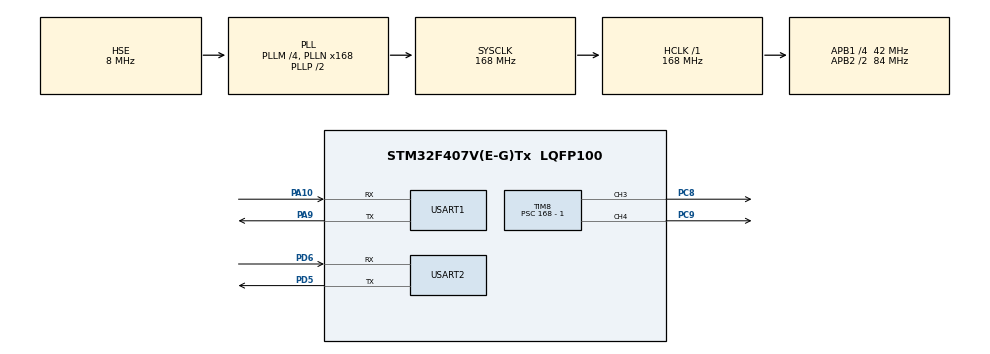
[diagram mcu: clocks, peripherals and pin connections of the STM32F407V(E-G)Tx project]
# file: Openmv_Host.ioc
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Dma.Request0=USART2_RX
Dma.Request1=USART1_RX
Dma.USART1_RX.1.Direction=DMA_PERIPH_TO_MEMORY
Dma.USART1_RX.1.FIFOMode=DMA_FIFOMODE_DISABLE
Dma.USART1_RX.1.Instance=DMA2_Stream2
Dma.USART1_RX.1.MemDataAlignment=DMA_MDATAALIGN_BYTE
Dma.USART1_RX.1.MemInc=DMA_MINC_ENABLE
Dma.USART1_RX.1.Mode=DMA_CIRCULAR
Dma.USART1_RX.1.PeriphDataAlignment=DMA_PDATAALIGN_BYTE
Dma.USART1_RX.1.PeriphInc=DMA_PINC_DISABLE
Dma.USART1_RX.1.Priority=DMA_PRIORITY_LOW
Dma.USART2_RX.0.Direction=DMA_PERIPH_TO_MEMORY
Dma.USART2_RX.0.FIFOMode=DMA_FIFOMODE_DISABLE
Dma.USART2_RX.0.Instance=DMA1_Stream5
Dma.USART2_RX.0.MemDataAlignment=DMA_MDATAALIGN_BYTE
Dma.USART2_RX.0.MemInc=DMA_MINC_ENABLE
Dma.USART2_RX.0.Mode=DMA_CIRCULAR
Dma.USART2_RX.0.PeriphDataAlignment=DMA_PDATAALIGN_BYTE
Dma.USART2_RX.0.PeriphInc=DMA_PINC_DISABLE
Dma.USART2_RX.0.Priority=DMA_PRIORITY_LOW
Mcu.Family=STM32F4
Mcu.Name=STM32F407V(E-G)Tx
Mcu.Package=LQFP100
NVIC.DMA1_Stream5_IRQn=true\:0\:0\:false\:false\:true\:false\:true\:true
NVIC.DMA2_Stream2_IRQn=true\:0\:0\:false\:false\:true\:false\:true\:true
NVIC.PriorityGroup=NVIC_PRIORITYGROUP_4
NVIC.TIM4_IRQn=true\:0\:0\:false\:false\:true\:true\:true\:true
NVIC.TIM5_IRQn=true\:0\:0\:false\:false\:true\:true\:true\:true
NVIC.USART1_IRQn=true\:0\:0\:false\:false\:true\:true\:true\:true
NVIC.USART2_IRQn=true\:0\:0\:false\:false\:true\:true\:true\:true
PA10.Mode=Asynchronous
PA10.Signal=USART1_RX
PA13.Mode=Serial_Wire
PA13.Signal=SYS_JTMS-SWDIO
PA14.Mode=Serial_Wire
PA14.Signal=SYS_JTCK-SWCLK
PA9.Mode=Asynchronous
PA9.Signal=USART1_TX
PC8.Signal=S_TIM8_CH3
PC9.Signal=S_TIM8_CH4
PD5.Mode=Asynchronous
PD5.Signal=USART2_TX
PD6.Mode=Asynchronous
PD6.Signal=USART2_RX
PH0-OSC_IN.Mode=HSE-External-Oscillator
PH0-OSC_IN.Signal=RCC_OSC_IN
PH1-OSC_OUT.Mode=HSE-External-Oscillator
PH1-OSC_OUT.Signal=RCC_OSC_OUT
ProjectManager.HeapSize=0x200
ProjectManager.StackSize=0x400
ProjectManager.TargetToolchain=MDK-ARM V5.32
RCC.48MHZClocksFreq_Value=84000000
RCC.AHBFreq_Value=168000000
RCC.APB1CLKDivider=RCC_HCLK_DIV4
RCC.APB1Freq_Value=42000000
RCC.APB1TimFreq_Value=84000000
RCC.APB2CLKDivider=RCC_HCLK_DIV2
RCC.APB2Freq_Value=84000000
RCC.APB2TimFreq_Value=168000000
RCC.CortexFreq_Value=168000000
RCC.HCLKFreq_Value=168000000
RCC.HSE_VALUE=8000000
RCC.HSI_VALUE=16000000
RCC.LSE_VALUE=32768
RCC.PLLM=4
RCC.PLLN=168
RCC.PLLSourceVirtual=RCC_PLLSOURCE_HSE
RCC.SYSCLKFreq_VALUE=168000000
RCC.SYSCLKSource=RCC_SYSCLKSOURCE_PLLCLK
RCC.VCOOutputFreq_Value=336000000
SH.S_TIM8_CH3.0=TIM8_CH3,PWM Generation3 CH3
SH.S_TIM8_CH4.0=TIM8_CH4,PWM Generation4 CH4
TIM4.AutoReloadPreload=TIM_AUTORELOAD_PRELOAD_ENABLE
TIM4.Period=1000 - 1
TIM4.Prescaler=168 - 1
TIM5.AutoReloadPreload=TIM_AUTORELOAD_PRELOAD_ENABLE
TIM5.Period=1000 - 1
TIM5.Prescaler=168 - 1
TIM8.AutoReloadPreload=TIM_AUTORELOAD_PRELOAD_ENABLE
TIM8.Channel-PWM\ Generation3\ CH3=TIM_CHANNEL_3
TIM8.Channel-PWM\ Generation4\ CH4=TIM_CHANNEL_4
TIM8.Period=20000 - 1
TIM8.Prescaler=168 - 1
USART1.VirtualMode=VM_ASYNC
USART2.VirtualMode=VM_ASYNC
VP_TIM4_VS_ClockSourceINT.Mode=Internal
VP_TIM5_VS_ClockSourceINT.Mode=Internal
VP_TIM8_VS_ClockSourceINT.Mode=Internal
board=custom

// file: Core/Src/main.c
/* USER CODE BEGIN Header */
/**
  ******************************************************************************
  * @file           : main.c
  * @brief          : Main program body
  ******************************************************************************
  * @attention
  *
  * Copyright (c) 2025 STMicroelectronics.
  * All rights reserved.
  *
  * This software is licensed under terms that can be found in the LICENSE file
  * in the root directory of this software component.
  * If no LICENSE file comes with this software, it is provided AS-IS.
  *
  ******************************************************************************
  */
/* USER CODE END Header */
#include "main.h"
#include "dma.h"
#include "tim.h"
#include "usart.h"
#include "gpio.h"

/* USER CODE BEGIN Includes */
#include <stdio.h>
#include "stm32f4xx_it.h"
#include "connect.h"
#include "VOFA.h"
#include "Track.h"
#include "Delay.h"
#include "YunTai.h"
/* USER CODE END Includes */

/* USER CODE BEGIN PV */
uint16_t x = 0, y = 0;
/* USER CODE END PV */

void SystemClock_Config(void);

int main(void)
{

  /* MCU Configuration--------------------------------------------------------*/

  /* Reset of all peripherals, Initializes the Flash interface and the Systick. */
  HAL_Init();

  /* Configure the system clock */
  SystemClock_Config();

  /* Initialize all configured peripherals */
  MX_GPIO_Init();
  MX_DMA_Init();
  MX_USART2_UART_Init();
  MX_USART1_UART_Init();
  MX_TIM8_Init();
  MX_TIM4_Init();
  MX_TIM5_Init();
  /* USER CODE BEGIN 2 */

  HAL_TIM_PWM_Start(&htim8, TIM_CHANNEL_3);
  HAL_TIM_PWM_Start(&htim8, TIM_CHANNEL_4);

  DuoJi_Init();
  Delay_ms(500);
  HAL_TIM_Base_Start_IT(&htim4);
  HAL_TIM_Base_Start_IT(&htim5);
  Connect_Openmv_Start();
  /* USER CODE END 2 */

  /* Infinite loop */
  while (1)
  {

    /* USER CODE BEGIN 3 */

    Track_Update_Target();
  }
  /* USER CODE END 3 */
}

void SystemClock_Config(void)
{
  RCC_OscInitTypeDef RCC_OscInitStruct = {0};
  RCC_ClkInitTypeDef RCC_ClkInitStruct = {0};

  /** Configure the main internal regulator output voltage
  */
  __HAL_RCC_PWR_CLK_ENABLE();
  __HAL_PWR_VOLTAGESCALING_CONFIG(PWR_REGULATOR_VOLTAGE_SCALE1);

  /** Initializes the RCC Oscillators according to the specified parameters
  * in the RCC_OscInitTypeDef structure.
  */
  RCC_OscInitStruct.OscillatorType = RCC_OSCILLATORTYPE_HSE;
  RCC_OscInitStruct.HSEState = RCC_HSE_ON;
  RCC_OscInitStruct.PLL.PLLState = RCC_PLL_ON;
  RCC_OscInitStruct.PLL.PLLSource = RCC_PLLSOURCE_HSE;
  RCC_OscInitStruct.PLL.PLLM = 4;
  RCC_OscInitStruct.PLL.PLLN = 168;
  RCC_OscInitStruct.PLL.PLLP = RCC_PLLP_DIV2;
  RCC_OscInitStruct.PLL.PLLQ = 4;
  if (HAL_RCC_OscConfig(&RCC_OscInitStruct) != HAL_OK)
  {
    Error_Handler();
  }

  /** Initializes the CPU, AHB and APB buses clocks
  */
  RCC_ClkInitStruct.ClockType = RCC_CLOCKTYPE_HCLK|RCC_CLOCKTYPE_SYSCLK
                              |RCC_CLOCKTYPE_PCLK1|RCC_CLOCKTYPE_PCLK2;
  RCC_ClkInitStruct.SYSCLKSource = RCC_SYSCLKSOURCE_PLLCLK;
  RCC_ClkInitStruct.AHBCLKDivider = RCC_SYSCLK_DIV1;
  RCC_ClkInitStruct.APB1CLKDivider = RCC_HCLK_DIV4;
  RCC_ClkInitStruct.APB2CLKDivider = RCC_HCLK_DIV2;

  if (HAL_RCC_ClockConfig(&RCC_ClkInitStruct, FLASH_LATENCY_5) != HAL_OK)
  {
    Error_Handler();
  }
}

void Error_Handler(void)
{
  __disable_irq();
  while (1)
  {
  }
}
